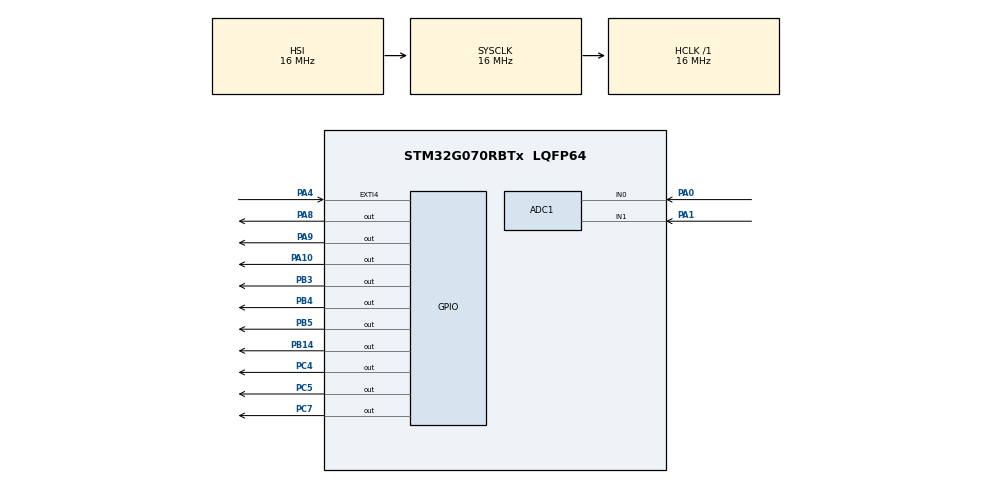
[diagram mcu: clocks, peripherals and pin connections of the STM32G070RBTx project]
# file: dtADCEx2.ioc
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ADC1.Channel-0\#ChannelRegularConversion=ADC_CHANNEL_0
ADC1.Channel-1\#ChannelRegularConversion=ADC_CHANNEL_1
ADC1.ContinuousConvMode=DISABLE
ADC1.DMAContinuousRequests=DISABLE
ADC1.EOCSelection=ADC_EOC_SINGLE_CONV
ADC1.NbrOfConversion=2
ADC1.NbrOfConversionFlag=1
ADC1.Overrun=ADC_OVR_DATA_OVERWRITTEN
ADC1.Rank-0\#ChannelRegularConversion=1
ADC1.Rank-1\#ChannelRegularConversion=2
ADC1.SamplingTime-0\#ChannelRegularConversion=ADC_SAMPLINGTIME_COMMON_1
ADC1.SamplingTime-1\#ChannelRegularConversion=ADC_SAMPLINGTIME_COMMON_1
ADC1.SamplingTimeCommon1=ADC_SAMPLETIME_12CYCLES_5
ADC1.SelectedChannel=ADC_CHANNEL_0|ADC_CHANNEL_1
ADC1.Sequencer=FULLY_CONFIGURABLE
ADC1.master=1
Mcu.Family=STM32G0
Mcu.Name=STM32G070RBTx
Mcu.Package=LQFP64
NVIC.ADC1_IRQn=true\:0\:0\:false\:false\:true\:true\:true\:true
PA0.Mode=IN0
PA0.Signal=ADC1_IN0
PA1.Mode=IN1
PA1.Signal=ADC1_IN1
PA10.Signal=GPIO_Output
PA13.Mode=Serial_Wire
PA13.Signal=SYS_SWDIO
PA14-BOOT0.Mode=Serial_Wire
PA14-BOOT0.Signal=SYS_SWCLK
PA4.GPIO_ModeDefaultEXTI=GPIO_MODE_IT_FALLING
PA4.GPIO_PuPd=GPIO_PULLUP
PA4.Signal=GPXTI4
PA8.Signal=GPIO_Output
PA9.Signal=GPIO_Output
PB14.Signal=GPIO_Output
PB3.Signal=GPIO_Output
PB4.Signal=GPIO_Output
PB5.Signal=GPIO_Output
PC4.Signal=GPIO_Output
PC5.Signal=GPIO_Output
PC7.Signal=GPIO_Output
ProjectManager.HeapSize=0x200
ProjectManager.StackSize=0x400
ProjectManager.TargetToolchain=STM32CubeIDE
RCC.ADCFreq_Value=16000000
RCC.AHBFreq_Value=16000000
RCC.CortexFreq_Value=16000000
RCC.EXTERNAL_CLOCK_VALUE=48000
RCC.HCLKFreq_Value=16000000
RCC.HSE_VALUE=8000000
RCC.HSI_VALUE=16000000
RCC.LSE_VALUE=32768
RCC.SYSCLKFreq_VALUE=16000000
RCC.VCOOutputFreq_Value=128000000
VP_SYS_VS_DBSignals.Mode=DisableDeadBatterySignals
board=custom

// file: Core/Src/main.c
/* USER CODE BEGIN Header */
/**
 ******************************************************************************
 * @file           : main.c
 * @brief          : Main program body
 ******************************************************************************
 * @attention
 *
 * Copyright (c) 2022 STMicroelectronics.
 * All rights reserved.
 *
 * This software is licensed under terms that can be found in the LICENSE file
 * in the root directory of this software component.
 * If no LICENSE file comes with this software, it is provided AS-IS.
 *
 ******************************************************************************
 */
/* USER CODE END Header */
#include "main.h"
#include "adc.h"
#include "gpio.h"

/* USER CODE BEGIN Includes */
#include "display_driver.h"
/* USER CODE END Includes */

/* USER CODE BEGIN PV */
__IO uint16_t ADCdata[2] = {0, 0};
__IO uint8_t ADchannel = 0;
__IO ITStatus ADCstatus = SET;
/* USER CODE END PV */

void SystemClock_Config(void);

int main(void)
{

  /* MCU Configuration--------------------------------------------------------*/

  /* Reset of all peripherals, Initializes the Flash interface and the Systick. */
  HAL_Init();

  /* Configure the system clock */
  SystemClock_Config();

  /* Initialize all configured peripherals */
  MX_GPIO_Init();
  MX_ADC1_Init();
  /* USER CODE BEGIN 2 */

  if(HAL_ADCEx_Calibration_Start(&hadc1) != HAL_OK){
	  Error_Handler();
  }

  ADCstatus = RESET;

  HAL_ADC_Start_IT(&hadc1);

  /* USER CODE END 2 */

  /* Infinite loop */
  /* USER CODE BEGIN WHILE */

  int i = 0;

	while (1) {

		while(i < 1000){
			D_UpdateDisp(ADCdata[0], 0);
			D_UpdateDisp(ADCdata[1], 1);
			i++;
		}

		HAL_ADC_Start_IT(&hadc1);

		i = 0;

    /* USER CODE END WHILE */

	}
}

void SystemClock_Config(void)
{
  RCC_OscInitTypeDef RCC_OscInitStruct = {0};
  RCC_ClkInitTypeDef RCC_ClkInitStruct = {0};

  /** Configure the main internal regulator output voltage
  */
  HAL_PWREx_ControlVoltageScaling(PWR_REGULATOR_VOLTAGE_SCALE1);

  /** Initializes the RCC Oscillators according to the specified parameters
  * in the RCC_OscInitTypeDef structure.
  */
  RCC_OscInitStruct.OscillatorType = RCC_OSCILLATORTYPE_HSI;
  RCC_OscInitStruct.HSIState = RCC_HSI_ON;
  RCC_OscInitStruct.HSIDiv = RCC_HSI_DIV1;
  RCC_OscInitStruct.HSICalibrationValue = RCC_HSICALIBRATION_DEFAULT;
  RCC_OscInitStruct.PLL.PLLState = RCC_PLL_NONE;
  if (HAL_RCC_OscConfig(&RCC_OscInitStruct) != HAL_OK)
  {
    Error_Handler();
  }

  /** Initializes the CPU, AHB and APB buses clocks
  */
  RCC_ClkInitStruct.ClockType = RCC_CLOCKTYPE_HCLK|RCC_CLOCKTYPE_SYSCLK
                              |RCC_CLOCKTYPE_PCLK1;
  RCC_ClkInitStruct.SYSCLKSource = RCC_SYSCLKSOURCE_HSI;
  RCC_ClkInitStruct.AHBCLKDivider = RCC_SYSCLK_DIV1;
  RCC_ClkInitStruct.APB1CLKDivider = RCC_HCLK_DIV1;

  if (HAL_RCC_ClockConfig(&RCC_ClkInitStruct, FLASH_LATENCY_0) != HAL_OK)
  {
    Error_Handler();
  }
}

/* USER CODE BEGIN 4 */
void HAL_ADC_ConvCpltCallback(ADC_HandleTypeDef *hadc)
{
	if(!ADchannel){
		ADCdata[0] = (16*HAL_ADC_GetValue(&hadc1)/4096);
		ADchannel = 1;
	}else{
		ADCdata[1] = (16*HAL_ADC_GetValue(&hadc1)/4096);
		ADchannel = 0;
	}

}
/* USER CODE END 4 */

void Error_Handler(void)
{
  /* USER CODE BEGIN Error_Handler_Debug */
	/* User can add his own implementation to report the HAL error return state */
	__disable_irq();

	HAL_GPIO_WritePin(GPIOA, GPIO_PIN_14, GPIO_PIN_SET);

	while (1) {
	}
  /* USER CODE END Error_Handler_Debug */
}
